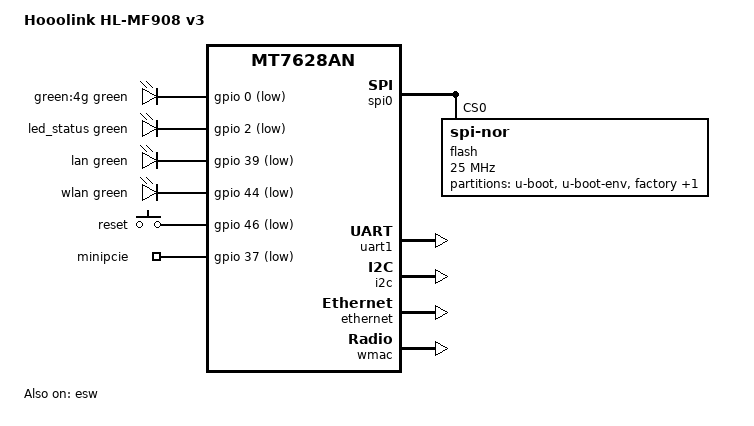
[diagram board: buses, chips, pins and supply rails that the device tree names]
// SPDX-License-Identifier: BSD-2-Clause

#include "mt7628an.dtsi"

#include <dt-bindings/gpio/gpio.h>
#include <dt-bindings/input/input.h>
#include <dt-bindings/leds/common.h>

/ {
	compatible = "hooolink,hl-mf908-v3", "mediatek,mt7628an-soc";
	model = "Hooolink HL-MF908 v3";

	chosen {
		bootargs = "console=ttyS0,57600n8";
	};

	aliases {
		led-boot = &led_status;
		led-failsafe = &led_status;
		led-running = &led_status;
		led-upgrade = &led_status;
	};

	leds {
		compatible = "gpio-leds";

		4g {
			label = "green:4g";
			color = <LED_COLOR_ID_GREEN>;
			gpios = <&gpio 0 GPIO_ACTIVE_LOW>;
		};

		led_status: status {
			color = <LED_COLOR_ID_GREEN>;
			function = LED_FUNCTION_STATUS;
			gpios = <&gpio 2 GPIO_ACTIVE_LOW>;
		};

		lan {
			color = <LED_COLOR_ID_GREEN>;
			function = LED_FUNCTION_LAN;
			linux,default-trigger = "phy0tpt";
			gpios = <&gpio 39 GPIO_ACTIVE_LOW>;
		};

		wlan {
			color = <LED_COLOR_ID_GREEN>;
			function = LED_FUNCTION_WLAN;
			gpios = <&gpio 44 GPIO_ACTIVE_LOW>;
		};
	};

	keys {
		compatible = "gpio-keys";

		reset {
			label = "reset";
			gpios = <&gpio 46 GPIO_ACTIVE_LOW>;
			linux,code = <KEY_RESTART>;
		};
	};

	gpio_export {
		compatible = "gpio-export";
		#size-cells = <0>;

		minipcie {
			gpio-export,name = "minipcie";
			gpio-export,output = <0>;
			gpios = <&gpio 37 GPIO_ACTIVE_LOW>;
		};
	};
};

&spi0 {
	status = "okay";

	flash@0 {
		compatible = "jedec,spi-nor";
		reg = <0>;
		spi-max-frequency = <25000000>;

		partitions {
			compatible = "fixed-partitions";
			#address-cells = <1>;
			#size-cells = <1>;

			partition@0 {
				label = "u-boot";
				reg = <0x0 0x30000>;
				read-only;
			};

			partition@30000 {
				label = "u-boot-env";
				reg = <0x30000 0x10000>;
				read-only;
			};

			factory: partition@40000 {
				label = "factory";
				reg = <0x40000 0x10000>;
				read-only;
			};

			partition@50000 {
				compatible = "denx,uimage";
				label = "firmware";
				reg = <0x50000 0xfb0000>;
			};
		};
	};
};

&uart1 {
	status = "okay";
};

&i2c {
	status = "okay";
};

&ethernet {
	status = "okay";
	mtd-mac-address = <&factory 0x2e>;
};

&esw {
	status = "okay";
};

&wmac {
	status = "okay";
	ralink,mtd-eeprom = <&factory 0x04>;
};

&state_default {
	gpio {
		groups = "i2c", "gpio", "uart1", "refclk", "wdt", "pwm0";
		function = "gpio";
	};
};
